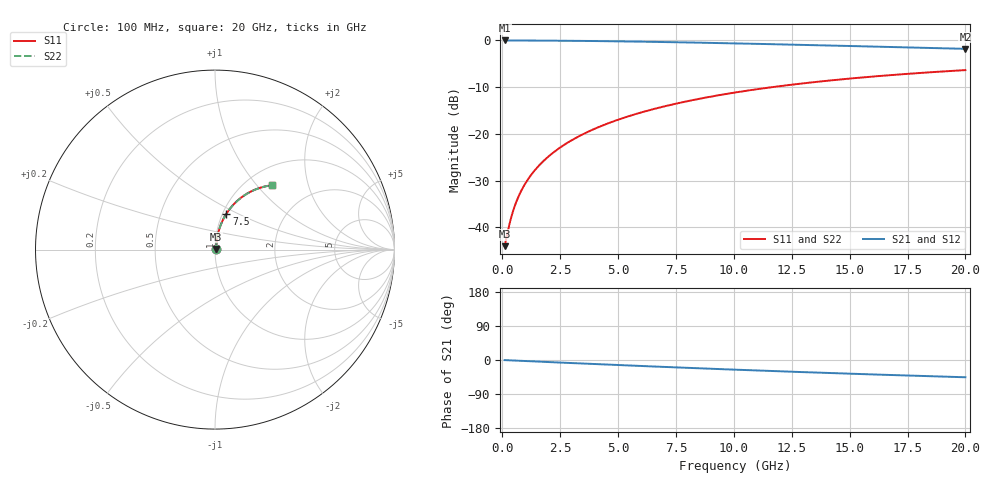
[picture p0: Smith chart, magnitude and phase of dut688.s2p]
! Touchstone file exported from HFSS 2024.1.0
!  File:  C:/UserFiles/LocalFiles/RDL_TSV_Batchsim/temp_RDL_top_688_1779782707.aedt
!  Generated:  04:07:34 PM May 26, 2026
!  Design:  RDL_top
!  Project:  temp_RDL_top_688_1779782707
!  Setup:  Setup1
!  Solution:  Sweep
! Variables:
!  dtsv = 10.80580581um
!  hbump = 3um
!  htsv = 77.95um
!  ldown = 100um
!  lrdl = 600.69um
!  p = 40
!  p1 = 48.08um
!  rhole = 1um
!  t = 450um
!  tdown = 3.915915916um
!  trdl = 2.73um
!  wdown = 15.38538539um
!  wrdl = 14.3um
# GHz S MA R 50.000000
! Terminal data exported
! Port[1] = Box2_T1
! Port[2] = Box2_T2
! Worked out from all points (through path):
!   200 points, 100 MHz to 20 GHz, reference 50 ohm
!   highest |S21| = -0.05 dB at 100 MHz (marker M1); lowest = -1.8 dB at 20 GHz (marker M2)
!   group delay of S21, straight-line fit = 6.33 ps
!   lowest |S11| = -44.0 dB at 100 MHz (marker M3), VSWR 1.01, Z = 50.6 + j0.303 ohm
!   |S11| at or under -10 dB: start of sweep to 11.69 GHz
!   |S22| runs from -44.0 to -6.4 dB; largest |S21 - S12| = 2.4e-15
!   S11 on the Smith chart (normalised r, x): 100 MHz: 1.01, +0.01; 7.5 GHz: 1.04, +0.44; 20 GHz: 1.30, +1.21
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0.1  0.006314 28.3  0.9944 -0.3  0.9944 -0.3  0.006314 28.3
! Gamma 0 0 0 0
! Port Impedance 50 0 50 0
0.3  0.01063 56.9  0.9942 -0.8  0.9942 -0.8  0.01063 56.9
0.4  0.01325 63.1  0.994 -1.1  0.994 -1.1  0.01325 63.1
0.5  0.01594 67.1  0.9938 -1.4  0.9938 -1.4  0.01594 67.1
0.6  0.01866 69.8  0.9936 -1.7  0.9936 -1.7  0.01866 69.8
0.7  0.0214 71.9  0.9934 -1.9  0.9934 -1.9  0.0214 71.8
0.9  0.0269 74.6  0.993 -2.5  0.993 -2.5  0.0269 74.6
1.2  0.03518 76.9  0.9923 -3.3  0.9923 -3.3  0.03518 76.9
1.4  0.04073 77.9  0.9918 -3.8  0.9918 -3.8  0.04073 77.9
1.7  0.04908 78.8  0.9909 -4.6  0.9909 -4.6  0.04908 78.8
2.2  0.06307 79.4  0.9892 -5.9  0.9892 -5.9  0.06306 79.4
2.8  0.0799 79.5  0.9867 -7.5  0.9867 -7.5  0.0799 79.5
3.5  0.09957 79.0  0.9832 -9.4  0.9832 -9.4  0.09956 78.9
4.2  0.1192 78.1  0.979 -11.2  0.979 -11.2  0.1192 78.1
5  0.1416 76.9  0.9734 -13.3  0.9734 -13.3  0.1415 76.9
5.9  0.1665 75.4  0.9664 -15.6  0.9664 -15.6  0.1665 75.4
6.8  0.1912 73.7  0.9585 -17.8  0.9585 -17.8  0.1911 73.7
7.5  0.2101 72.4  0.9519 -19.5  0.9519 -19.5  0.21 72.4
10.1  0.2776 67.2  0.9249 -25.6  0.9249 -25.6  0.2775 67.2
13.4  0.3553 60.6  0.8869 -32.8  0.8869 -32.8  0.3551 60.5
16.7  0.4227 54.3  0.8476 -39.5  0.8476 -39.5  0.4225 54.2
20  0.4797 48.4  0.8091 -45.5  0.8091 -45.5  0.4794 48.4
